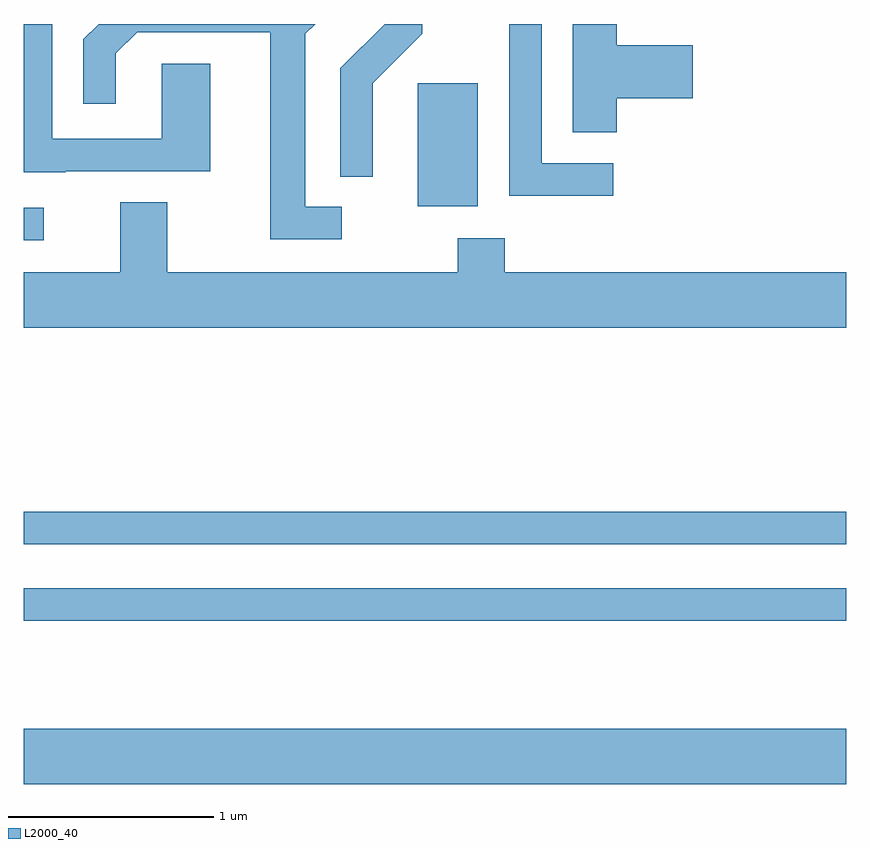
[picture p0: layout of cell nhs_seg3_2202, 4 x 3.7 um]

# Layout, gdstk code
import gdstk
lib = gdstk.Library(unit=1e-6, precision=1e-09)
def R(c, l, rs):  # rectangles x0, y0, x1, y1
    for r in rs: c.add(gdstk.rectangle(r[:2], r[2:], *l))
def P(c, l, *ps):  # polygons
    for p in ps: c.add(gdstk.Polygon(p, *l))
L2000_40 = (2000, 40)

nhs_seg3_2202 = lib.new_cell('nhs_seg3_2202')
R(nhs_seg3_2202, L2000_40, [(249.611,1168.196,253.611,1168.464), (249.611,1168.991,253.611,1169.149), (249.611,1169.361,253.611,1169.519), (249.611,1170.841,249.708,1170.999), (251.526,1171.006,251.819,1171.604)])
P(nhs_seg3_2202, L2000_40, [(251.309,1171.604),(251.549,1171.844),(251.549,1171.892),(251.366,1171.892),(251.151,1171.677),(251.151,1171.148),(251.309,1171.148)],
  [(252.478,1171.214),(252.129,1171.214),(252.129,1171.892),(251.971,1171.892),(251.971,1171.056),(252.478,1171.056)],
  [(252.494,1171.531),(252.864,1171.531),(252.864,1171.789),(252.494,1171.789),(252.494,1171.892),(252.281,1171.892),(252.281,1171.366),(252.494,1171.366)],
  [(251.158,1171.004),(250.979,1171.004),(250.979,1171.844),(251.028,1171.892),(249.976,1171.892),(249.901,1171.817),(249.901,1171.503),(250.059,1171.503),(250.059,1171.749),(250.162,1171.851),(250.811,1171.851),(250.811,1170.846),(251.158,1170.846)],
  [(249.815,1171.176),(250.519,1171.176),(250.519,1171.699),(250.281,1171.699),(250.281,1171.334),(249.749,1171.334),(249.749,1171.892),(249.611,1171.892),(249.611,1171.171),(249.815,1171.171)],
  [(253.611,1170.684),(251.949,1170.684),(251.949,1170.849),(251.721,1170.849),(251.721,1170.684),(250.309,1170.684),(250.309,1171.024),(250.081,1171.024),(250.081,1170.684),(249.611,1170.684),(249.611,1170.416),(253.611,1170.416)])

lib.write_gds('nhs_seg3_2202.gds')
